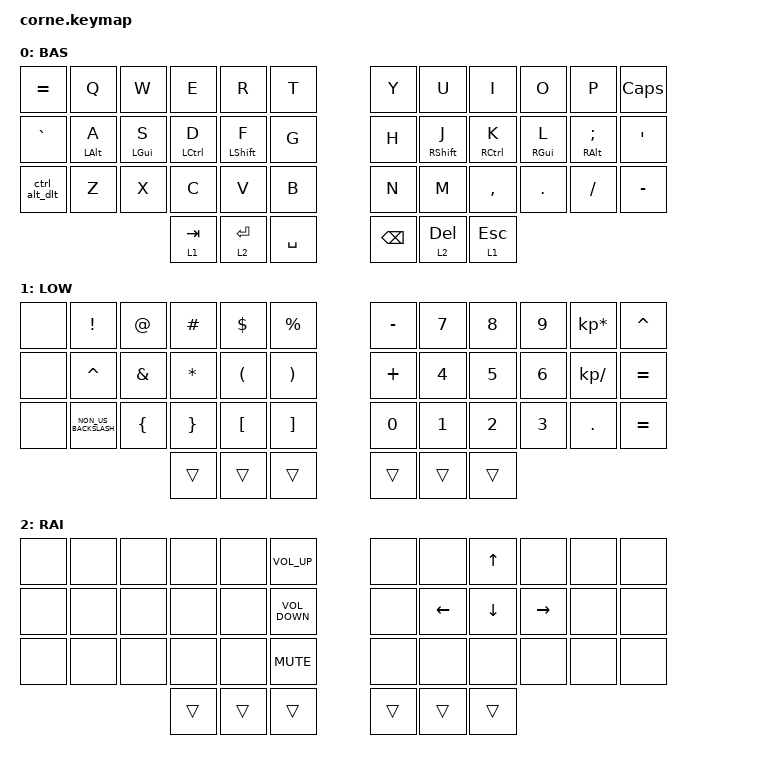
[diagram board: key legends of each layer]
/*
 * Copyright (c) 2020 The ZMK Contributors
 *
 * SPDX-License-Identifier: MIT
 */

#include <dt-bindings/led/led.h>
#include <dt-bindings/zmk/reset.h>
#include <behaviors.dtsi>
#include <dt-bindings/zmk/keys.h>

&led_strip { chain-length = <27>; };

/ {
    macros {
        ctrl_alt_dlt: ctrl_alt_dlt {
            compatible = "zmk,behavior-macro";
            #binding-cells = <0>;
            bindings =
                <&macro_press>,
                <&kp LCTRL &kp LEFT_ALT &kp DELETE>,
                <&macro_release>;

            label = "CTRL_ALT_DLT";
        };
    };

    behaviors {
        hml_left: hml_left {
            compatible = "zmk,behavior-hold-tap";
            label = "Home Row Mod Left";
            bindings = <&kp>, <&kp>;

            #binding-cells = <2>;
            tapping-term-ms = <280>;
            quick-tap-ms = <175>;
            require-prior-idle-ms = <125>;
            flavor = "balanced";
            hold-trigger-on-release;
            hold-trigger-key-positions = <38 37 0 1 2 3 4 5 12 13 14 15 16 17 24 25 26 27 28 29 36>;
        };

        hml_right: hml_right {
            compatible = "zmk,behavior-hold-tap";
            label = "Home Row Mod Right";
            bindings = <&kp>, <&kp>;

            #binding-cells = <2>;
            tapping-term-ms = <280>;
            quick-tap-ms = <175>;
            require-prior-idle-ms = <125>;
            flavor = "balanced";
            hold-trigger-on-release;
            hold-trigger-key-positions = <6 7 8 9 10 11 18 19 20 21 22 23 30 31 32 33 34 35 39 40 41>;
        };
    };

    keymap {
        compatible = "zmk,keymap";

        default_layer {
            display-name = "BAS";

            // -----------------------------------------------------------------------------------------
            // |  TAB |  Q  |  W  |  E  |  R  |  T  |   |  Y  |  U   |  I  |  O  |  P  | BKSP |
            // | CTRL |  A  |  S  |  D  |  F  |  G  |   |  H  |  J   |  K  |  L  |  ;  |  '   |
            // | SHFT |  Z  |  X  |  C  |  V  |  B  |   |  N  |  M   |  ,  |  .  |  /  | ESC  |
            //                    | GUI | LWR | SPC |   | ENT | RSE  | ALT |

            bindings = <
&kp EQUAL      &kp Q                 &kp W                 &kp E              &kp R                   &kp T        &kp Y          &kp U                     &kp I               &kp O                   &kp P                           &kp CAPSLOCK
&kp GRAVE      &hml_left LEFT_ALT A  &hml_left LEFT_GUI S  &hml_left LCTRL D  &hml_left LEFT_SHIFT F  &kp G        &kp H          &hml_right RIGHT_SHIFT J  &hml_right RCTRL K  &hml_right RIGHT_GUI L  &hml_right RIGHT_ALT SEMICOLON  &kp SQT
&ctrl_alt_dlt  &kp Z                 &kp X                 &kp C              &kp V                   &kp B        &kp N          &kp M                     &kp COMMA           &kp DOT                 &kp FSLH                        &kp MINUS
                                                           &lt 1 TAB          &lt 2 ENTER             &kp SPACE    &kp BACKSPACE  &lt 2 DELETE              &lt 1 ESCAPE
            >;
        };

        lower_layer {
            display-name = "LOW";

            // -----------------------------------------------------------------------------------------
            // |  TAB |  1  |  2  |  3  |  4  |  5  |   |  6  |  7  |  8  |  9  |  0  | BKSP |
            // | BTCLR| BT1 | BT2 | BT3 | BT4 | BT5 |   | LFT | DWN |  UP | RGT |     |      |
            // | SHFT |     |     |     |     |     |   |     |     |     |     |     |      |
            //                    | GUI |     | SPC |   | ENT |     | ALT |

            bindings = <
&none  &kp EXCLAMATION       &kp AT_SIGN     &kp HASH         &kp DOLLAR            &kp PERCENT              &kp MINUS  &kp N7        &kp N8        &kp N9        &kp KP_MULTIPLY  &kp CARET
&none  &kp CARET             &kp AMPERSAND   &kp ASTERISK     &kp LEFT_PARENTHESIS  &kp RIGHT_PARENTHESIS    &kp PLUS   &kp NUMBER_4  &kp N5        &kp NUMBER_6  &kp KP_DIVIDE    &kp EQUAL
&none  &kp NON_US_BACKSLASH  &kp LEFT_BRACE  &kp RIGHT_BRACE  &kp LEFT_BRACKET      &kp RIGHT_BRACKET        &kp N0     &kp NUMBER_1  &kp NUMBER_2  &kp N3        &kp PERIOD       &kp EQUAL
                                             &trans           &trans                &trans                   &trans     &trans        &trans
            >;
        };

        raise_layer {
            display-name = "RAI";

            // -----------------------------------------------------------------------------------------
            // |  TAB |  !  |  @  |  #  |  $  |  %  |   |  ^  |  &  |  *  |  (  |  )  | BKSP |
            // | CTRL |     |     |     |     |     |   |  -  |  =  |  [  |  ]  |  \  |  `   |
            // | SHFT |     |     |     |     |     |   |  _  |  +  |  {  |  }  | "|" |  ~   |
            //                    | GUI |     | SPC |   | ENT |     | ALT |

            bindings = <
&none  &none  &none  &none   &none   &kp C_VOLUME_UP      &none   &none     &kp UP_ARROW  &none      &none  &none
&none  &none  &none  &none   &none   &kp C_VOLUME_DOWN    &none   &kp LEFT  &kp DOWN      &kp RIGHT  &none  &none
&none  &none  &none  &none   &none   &kp K_MUTE           &none   &none     &none         &none      &none  &none
                     &trans  &trans  &trans               &trans  &trans    &trans
            >;
        };
    };
};
